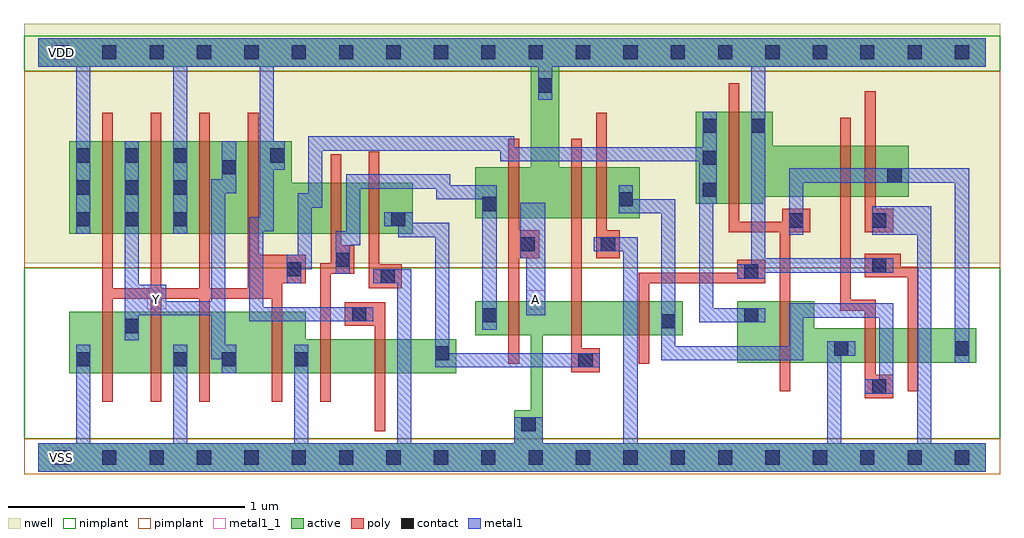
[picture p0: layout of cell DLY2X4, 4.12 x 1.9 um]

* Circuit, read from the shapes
.subckt DLY2X4 A VDD VSS Y
M1 Y n1 VSS VSS nfet w=0.26u l=0.045u m=4
M2 n2 n3 VSS VSS nfet w=0.145u l=0.045u
M3 n4 VDD n2 VSS nfet w=0.145u l=0.045u
M4 VSS A n3 VSS nfet w=0.145u l=0.045u
M5 n5 n4 VSS VSS nfet w=0.145u l=0.045u
M6 n6 VDD n5 VSS nfet w=0.145u l=0.045u
M7 VSS n7 n1 VSS nfet w=0.26u l=0.045u
M8 n8 n6 VSS VSS nfet w=0.145u l=0.045u
M9 n7 VDD n8 VSS nfet w=0.145u l=0.045u
M10 Y n1 VDD VDD pfet w=0.39u l=0.045u m=4
M11 n9 n3 VDD VDD pfet w=0.215u l=0.045u
M12 n4 VSS n9 VDD pfet w=0.215u l=0.045u
M13 VDD A n3 VDD pfet w=0.215u l=0.045u
M14 n10 n4 VDD VDD pfet w=0.215u l=0.045u
M15 n6 VSS n10 VDD pfet w=0.215u l=0.045u
M16 VDD n7 n1 VDD pfet w=0.39u l=0.045u
M17 n11 n6 VDD VDD pfet w=0.215u l=0.045u
M18 n7 VSS n11 VDD pfet w=0.215u l=0.045u
.ends

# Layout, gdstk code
import gdstk
lib = gdstk.Library(unit=1e-6, precision=5e-10)
def R(c, l, rs):  # rectangles x0, y0, x1, y1
    for r in rs: c.add(gdstk.rectangle(r[:2], r[2:], *l))
def A(c, l, x, y, w, h, nx, ny, dx, dy):  # array of equal rectangles
    R(c, l, [(x+i*dx, y+j*dy, x+i*dx+w, y+j*dy+h) for i in range(nx) for j in range(ny)])
def P(c, l, *ps):  # polygons
    for p in ps: c.add(gdstk.Polygon(p, *l))
active = (1, 0)
nwell = (2, 0)
poly = (3, 0)
nimplant = (4, 0)
pimplant = (5, 0)
contact = (6, 0)
metal1 = (7, 0)
metal1_1 = (7, 1)

dly2x4 = lib.new_cell('DLY2X4')
P(dly2x4, active, [(0,1.77),(4,1.77),(4,1.65),(2.2,1.65),(2.2,1.225),(2.54,1.225),(2.54,1.01),(1.845,1.01),(1.845,1.225),(2.08,1.225),(2.08,1.65),(0,1.65)],
  [(0.13,1.335),(1.07,1.335),(1.07,1.16),(1.58,1.16),(1.58,0.945),(0.13,0.945)],
  [(2.775,1.46),(3.1,1.46),(3.1,1.315),(3.675,1.315),(3.675,1.1),(3.06,1.1),(3.06,1.07),(2.775,1.07)],
  [(0.13,0.615),(1.13,0.615),(1.13,0.5),(1.765,0.5),(1.765,0.355),(0.13,0.355)],
  [(1.845,0.66),(2.72,0.66),(2.72,0.515),(2.13,0.515),(2.13,0.06),(4,0.06),(4,-0.06),(0,-0.06),(0,0.06),(2.01,0.06),(2.01,0.2),(2.08,0.2),(2.08,0.515),(1.845,0.515)],
  [(2.95,0.66),(3.275,0.66),(3.275,0.545),(3.96,0.545),(3.96,0.4),(2.95,0.4)])
R(dly2x4, nwell, [(-0.06,0.82,4.06,1.83)])
P(dly2x4, poly, [(0.27,1.455),(0.315,1.455),(0.315,0.715),(0.475,0.715),(0.475,1.455),(0.52,1.455),(0.52,0.715),(0.68,0.715),(0.68,1.455),(0.725,1.455),(0.725,0.715),(0.885,0.715),(0.885,1.455),(0.93,1.455),(0.93,0.855),(1.13,0.855),(1.13,0.735),(1.03,0.735),(1.03,0.235),(0.985,0.235),(0.985,0.67),(0.725,0.67),(0.725,0.235),(0.68,0.235),(0.68,0.67),(0.52,0.67),(0.52,0.235),(0.475,0.235),(0.475,0.67),(0.315,0.67),(0.315,0.235),(0.27,0.235)],
  [(1.235,1.28),(1.28,1.28),(1.28,0.895),(1.335,0.895),(1.335,0.775),(1.235,0.775),(1.235,0.235),(1.19,0.235),(1.19,0.82),(1.235,0.82)],
  [(1.395,1.29),(1.44,1.29),(1.44,0.815),(1.535,0.815),(1.535,0.715),(1.395,0.715)],
  [(1.985,1.345),(2.03,1.345),(2.03,0.96),(2.115,0.96),(2.115,0.84),(2.03,0.84),(2.03,0.395),(1.985,0.395)],
  [(2.915,1.58),(2.96,1.58),(2.96,0.995),(3.14,0.995),(3.14,1.05),(3.26,1.05),(3.26,0.95),(3.175,0.95),(3.175,0.28),(3.13,0.28),(3.13,0.95),(2.915,0.95)],
  [(2.25,1.345),(2.295,1.345),(2.295,0.46),(2.37,0.46),(2.37,0.36),(2.25,0.36)],
  [(2.355,1.455),(2.4,1.455),(2.4,0.96),(2.455,0.96),(2.455,0.84),(2.355,0.84)],
  [(3.385,1.435),(3.43,1.435),(3.43,0.665),(3.535,0.665),(3.535,0.35),(3.61,0.35),(3.61,0.25),(3.49,0.25),(3.49,0.62),(3.385,0.62)],
  [(3.49,1.545),(3.535,1.545),(3.535,1.05),(3.61,1.05),(3.61,0.95),(3.49,0.95)],
  [(3.49,0.86),(3.64,0.86),(3.64,0.805),(3.715,0.805),(3.715,0.28),(3.67,0.28),(3.67,0.76),(3.49,0.76)],
  [(2.95,0.835),(3.07,0.835),(3.07,0.735),(2.58,0.735),(2.58,0.395),(2.535,0.395),(2.535,0.78),(2.95,0.78)],
  [(1.295,0.655),(1.465,0.655),(1.465,0.11),(1.42,0.11),(1.42,0.555),(1.295,0.555)])
R(dly2x4, nimplant, [(-0.06,0.08,4.06,0.8), (-0.06,1.63,4.06,1.78)])
R(dly2x4, pimplant, [(-0.06,-0.07,4.06,0.08), (-0.06,0.8,4.06,1.63)])
A(dly2x4, contact, 0.07, -0.03, 0.06, 0.06, 20, 2, 0.2, 1.71)
A(dly2x4, contact, 0.16, 0.975, 0.06, 0.06, 3, 3, 0.205, 0.135)
A(dly2x4, contact, 2.805, 1.1, 0.06, 0.06, 1, 3, 0, 0.135)
R(dly2x4, contact, [(2.04,0.11,2.1,0.17), (3.52,0.27,3.58,0.33), (2.28,0.38,2.34,0.44), (0.16,0.385,0.22,0.445), (0.57,0.385,0.63,0.445), (0.775,0.385,0.835,0.445), (1.08,0.385,1.14,0.445), (1.675,0.41,1.735,0.47), (3.36,0.43,3.42,0.49), (3.87,0.43,3.93,0.49), (0.365,0.525,0.425,0.585), (2.63,0.545,2.69,0.605), (1.875,0.57,1.935,0.63), (2.98,0.57,3.04,0.63), (1.325,0.575,1.385,0.635), (1.445,0.735,1.505,0.795), (2.98,0.755,3.04,0.815), (1.05,0.765,1.11,0.825), (3.52,0.78,3.58,0.84), (1.255,0.805,1.315,0.865), (2.035,0.87,2.095,0.93), (2.375,0.87,2.435,0.93), (3.17,0.97,3.23,1.03), (3.52,0.97,3.58,1.03), (1.49,0.975,1.55,1.035), (1.875,1.04,1.935,1.1), (2.45,1.06,2.51,1.12), (3.585,1.16,3.645,1.22), (0.775,1.195,0.835,1.255), (0.98,1.245,1.04,1.305), (3.01,1.37,3.07,1.43), (2.11,1.54,2.17,1.6)])
P(dly2x4, metal1, [(0,1.77),(4,1.77),(4,1.65),(3.07,1.65),(3.07,0.84),(3.61,0.84),(3.61,0.78),(3.07,0.78),(3.07,0.755),(2.95,0.755),(2.95,0.815),(3.01,0.815),(3.01,1.65),(2.17,1.65),(2.17,1.51),(2.11,1.51),(2.11,1.65),(0.995,1.65),(0.995,1.335),(1.04,1.335),(1.04,1.215),(0.995,1.215),(0.995,0.955),(0.95,0.955),(0.95,0.635),(1.415,0.635),(1.415,0.575),(0.89,0.575),(0.89,1.015),(0.935,1.015),(0.935,1.65),(0.63,1.65),(0.63,0.945),(0.57,0.945),(0.57,1.65),(0.22,1.65),(0.22,0.945),(0.16,0.945),(0.16,1.65),(0,1.65)],
  [(0.365,1.335),(0.425,1.335),(0.425,0.73),(0.54,0.73),(0.54,0.66),(0.73,0.66),(0.73,1.175),(0.775,1.175),(0.775,1.335),(0.835,1.335),(0.835,1.115),(0.79,1.115),(0.79,0.475),(0.835,0.475),(0.835,0.355),(0.775,0.355),(0.775,0.415),(0.73,0.415),(0.73,0.6),(0.425,0.6),(0.425,0.495),(0.365,0.495)],
  [(1.14,1.355),(2.01,1.355),(2.01,1.31),(2.805,1.31),(2.805,1.46),(2.865,1.46),(2.865,1.07),(2.85,1.07),(2.85,0.63),(3.07,0.63),(3.07,0.57),(2.79,0.57),(2.79,1.25),(1.95,1.25),(1.95,1.295),(1.2,1.295),(1.2,1.055),(1.155,1.055),(1.155,0.795),(1.11,0.795),(1.11,0.735),(1.05,0.735),(1.05,0.855),(1.095,0.855),(1.095,1.115),(1.14,1.115)],
  [(3.52,1.06),(3.77,1.06),(3.77,0.06),(4,0.06),(4,-0.06),(0,-0.06),(0,0.06),(0.16,0.06),(0.16,0.475),(0.22,0.475),(0.22,0.06),(0.57,0.06),(0.57,0.475),(0.63,0.475),(0.63,0.06),(1.08,0.06),(1.08,0.475),(1.14,0.475),(1.14,0.06),(1.515,0.06),(1.515,0.735),(1.415,0.735),(1.415,0.795),(1.575,0.795),(1.575,0.06),(2.01,0.06),(2.01,0.17),(2.13,0.17),(2.13,0.06),(2.47,0.06),(2.47,0.87),(2.345,0.87),(2.345,0.93),(2.53,0.93),(2.53,0.06),(3.33,0.06),(3.33,0.49),(3.45,0.49),(3.45,0.43),(3.39,0.43),(3.39,0.06),(3.71,0.06),(3.71,0.94),(3.52,0.94)],
  [(1.3,1.195),(1.74,1.195),(1.74,1.15),(1.935,1.15),(1.935,0.54),(1.875,0.54),(1.875,1.09),(1.68,1.09),(1.68,1.135),(1.36,1.135),(1.36,0.895),(1.315,0.895),(1.315,0.775),(1.255,0.775),(1.255,0.955),(1.3,0.955)],
  [(1.46,1.035),(1.58,1.035),(1.58,0.99),(1.735,0.99),(1.735,0.44),(2.37,0.44),(2.37,0.38),(1.675,0.38),(1.675,0.93),(1.52,0.93),(1.52,0.975),(1.46,0.975)],
  [(2.45,1.15),(2.51,1.15),(2.51,1.09),(2.69,1.09),(2.69,0.47),(3.17,0.47),(3.17,0.65),(3.61,0.65),(3.61,0.27),(3.49,0.27),(3.49,0.33),(3.55,0.33),(3.55,0.59),(3.23,0.59),(3.23,0.41),(2.63,0.41),(2.63,1.03),(2.45,1.03)],
  [(2.035,1.075),(2.14,1.075),(2.14,0.6),(2.06,0.6),(2.06,0.84),(2.035,0.84)],
  [(3.17,1.22),(3.93,1.22),(3.93,0.4),(3.87,0.4),(3.87,1.16),(3.23,1.16),(3.23,0.94),(3.17,0.94)])
R(dly2x4, metal1_1, [(0.06,-0.04,0.14,0.04), (0.46,0.625,0.54,0.705), (2.06,0.625,2.14,0.705), (0.06,1.67,0.14,1.75)])
dly2x4.add(gdstk.Label('A', (2.1,0.665), layer=7, texttype=1))
dly2x4.add(gdstk.Label('Y', (0.5,0.665), layer=7, texttype=1))
dly2x4.add(gdstk.Label('VDD', (0.1,1.71), layer=7, texttype=1))
dly2x4.add(gdstk.Label('VSS', (0.1,0), layer=7, texttype=1))
dly2x4.add(gdstk.Label('DLY2X4', (0,0), layer=63, texttype=0))

lib.write_gds('DLY2X4.gds')
